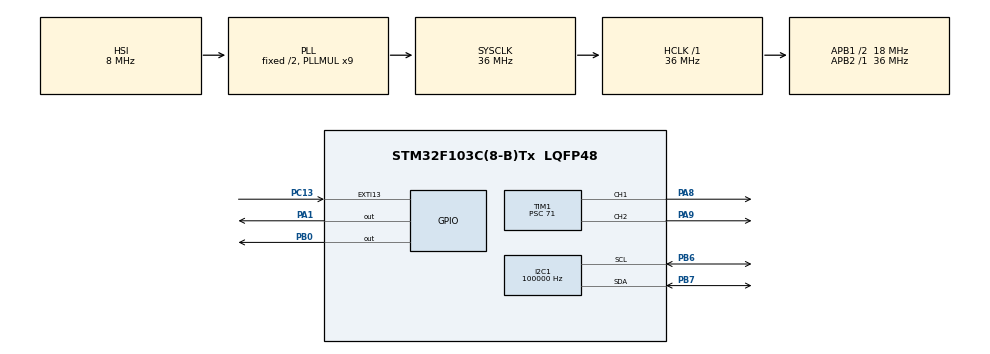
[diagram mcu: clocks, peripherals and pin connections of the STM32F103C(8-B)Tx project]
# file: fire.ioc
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I2C1.ClockSpeed=100000
I2C1.I2C_Mode=I2C_Fast
Mcu.Family=STM32F1
Mcu.Name=STM32F103C(8-B)Tx
Mcu.Package=LQFP48
NVIC.EXTI15_10_IRQn=true\:0\:0\:false\:false\:true\:true\:true\:true
NVIC.PriorityGroup=NVIC_PRIORITYGROUP_4
PA1.GPIO_PuPd=GPIO_PULLDOWN
PA1.Signal=GPIO_Output
PA13.Mode=Serial_Wire
PA13.Signal=SYS_JTMS-SWDIO
PA14.Mode=Serial_Wire
PA14.Signal=SYS_JTCK-SWCLK
PA8.Signal=S_TIM1_CH1
PA9.Signal=S_TIM1_CH2
PB0.PinState=GPIO_PIN_SET
PB0.Signal=GPIO_Output
PB6.Mode=I2C
PB6.Signal=I2C1_SCL
PB7.Mode=I2C
PB7.Signal=I2C1_SDA
PC13-TAMPER-RTC.GPIO_ModeDefaultEXTI=GPIO_MODE_IT_FALLING
PC13-TAMPER-RTC.GPIO_PuPd=GPIO_PULLUP
PC13-TAMPER-RTC.Signal=GPXTI13
ProjectManager.HeapSize=0x200
ProjectManager.StackSize=0x400
ProjectManager.TargetToolchain=STM32CubeIDE
RCC.AHBFreq_Value=36000000
RCC.APB1CLKDivider=RCC_HCLK_DIV2
RCC.APB1Freq_Value=18000000
RCC.APB1TimFreq_Value=36000000
RCC.APB2Freq_Value=36000000
RCC.APB2TimFreq_Value=36000000
RCC.HCLKFreq_Value=36000000
RCC.PLLMUL=RCC_PLL_MUL9
RCC.SYSCLKFreq_VALUE=36000000
RCC.SYSCLKSource=RCC_SYSCLKSOURCE_PLLCLK
RCC.USBFreq_Value=36000000
SH.S_TIM1_CH1.0=TIM1_CH1,PWM Generation1 CH1
SH.S_TIM1_CH2.0=TIM1_CH2,PWM Generation2 CH2
TIM1.AutomaticOutput=TIM_AUTOMATICOUTPUT_ENABLE
TIM1.Channel-PWM\ Generation1\ CH1=TIM_CHANNEL_1
TIM1.Channel-PWM\ Generation2\ CH2=TIM_CHANNEL_2
TIM1.Period=19999
TIM1.Prescaler=71
TIM1.Pulse-PWM\ Generation1\ CH1=1500
VP_TIM1_VS_ClockSourceINT.Mode=Internal
board=custom

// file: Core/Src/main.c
/* USER CODE BEGIN Header */
/**
  ******************************************************************************
  * @file           : main.c
  * @brief          : Main program body (Complete fixed version)
  ******************************************************************************
  */
/* USER CODE END Header */
#include "main.h"
#include "i2c.h"
#include "tim.h"
#include "gpio.h"

/* USER CODE BEGIN Includes */

#include <math.h>
#include <stdint.h>

#include "MLX90640_API.h"
#include "MLX90640_I2C_Driver.h"

#include "VL53L1X_api.h"
#include "VL53L1X_calibration.h"

/* USER CODE END Includes */

/* USER CODE BEGIN PD */

#define MLX90640_ADDRESS    0x33
#define VL53L1X_ADDRESS     0x29

#define FIRE_TEMPERATURE   150.0f

#define SERVO2_MAX_ANGLE    25
#define SERVO2_MIN_ANGLE    0

#define SERVO_SCAN_STEP     10

#define PUMP_PORT   GPIOA
#define PUMP_PIN    GPIO_PIN_1

/* USER CODE END PD */

/* USER CODE BEGIN PV */
static uint16_t eeMLX90640[832];
static paramsMLX90640 mlx90640Params;
static uint16_t mlx90640Frame[834];
static float mlx90640To[768];

static uint16_t currentDistance = 0;

volatile float temperature_vdd = 0.0f;
volatile float temperature_ta = 0.0f;
volatile float temperature_tr = 0.0f;
volatile float temperature_max = 0.0f;
volatile int temperature_hottest_x = 0;
volatile int temperature_hottest_y = 0;

volatile uint8_t vl53Ready = 0;
volatile uint16_t distanceMM = 0;

volatile int mlxDumpStatus = -1;
volatile int mlxExtractStatus = -1;
volatile int mlxRefreshStatus = -1;
volatile int mlxChessStatus = -1;

volatile int vl53InitStatus = -1;
volatile int vl53StartStatus = -1;
volatile uint8_t vl53XSHUT_State;
volatile uint8_t fire_found = 0;
volatile int servo2_angle = SERVO2_MAX_ANGLE;
volatile uint8_t diagnostic_mode = 0;
volatile uint32_t last_button_press = 0;
/* USER CODE END PV */

void SystemClock_Config(void);
/* USER CODE BEGIN PFP */

static void MLX90640_UpdateTemperature(void);

static void VL53L1X_UpdateDistance(void);

static void Servo_SetAngle(uint32_t angle);
static void Servo2_SetAngle(uint32_t angle);
static void Servo2_NextStep(void);
static void Target_And_Extinguish(int *p_angle);

/* USER CODE END PFP */

/* USER CODE BEGIN 0 */
static void Servo_SetAngle(uint32_t angle)
{
    if (angle > 180)
    {
        angle = 180;
    }

    uint32_t pulse = 500 + (angle * 2000) / 180;

    __HAL_TIM_SET_COMPARE(
        &htim1,
        TIM_CHANNEL_1,
        pulse
    );
}

static void Servo2_SetAngle(uint32_t angle)
{
    if (angle > SERVO2_MAX_ANGLE)
    {
        angle = SERVO2_MAX_ANGLE;
    }

    uint32_t pulse = 500 + (angle * 2000) / 180;

    __HAL_TIM_SET_COMPARE(&htim1, TIM_CHANNEL_2, pulse);
}

static void Servo2_NextStep(void)
{
    if (servo2_angle == 25)
    {
        servo2_angle = 20;
    }
    else if (servo2_angle == 20)
    {
        servo2_angle = 10;
    }
    else if (servo2_angle == 10)
    {
        servo2_angle = 0;
    }
    else
    {
        servo2_angle = 25;
    }

    Servo2_SetAngle((uint32_t)servo2_angle);
    HAL_Delay(500);
}
static void MLX90640_UpdateTemperature(void)
{
    int frameStatus;

    float max_temp = -1000.0f;
    float sum_temp = 0.0f;

    int hottest_pixel = 0;
    int valid_pixels = 0;

    for (int subpage = 0; subpage < 2; subpage++)
    {
        frameStatus = MLX90640_GetFrameData(
            MLX90640_ADDRESS,
            mlx90640Frame
        );

        if (frameStatus < 0)
        {
            return;
        }

        temperature_vdd =
            MLX90640_GetVdd(
                mlx90640Frame,
                &mlx90640Params
            );

        temperature_ta =
            MLX90640_GetTa(
                mlx90640Frame,
                &mlx90640Params
            );

        temperature_tr =
            temperature_ta - 8.0f;

        MLX90640_CalculateTo(
            mlx90640Frame,
            &mlx90640Params,
            0.95f,
            temperature_tr,
            mlx90640To
        );
    }
    for (int i = 0; i < 768; i++)
    {
        float t = mlx90640To[i];

        if (!isfinite(t))
        {
            continue;
        }

        if (t > max_temp)
        {
            max_temp = t;
            hottest_pixel = i;
        }

        sum_temp += t;
        valid_pixels++;
    }

    if (valid_pixels == 0)
    {
        return;
    }

    temperature_max = max_temp;

    temperature_hottest_x =
        hottest_pixel % 32;

    temperature_hottest_y =
        hottest_pixel / 32;

    if (temperature_max > FIRE_TEMPERATURE)
    {
        fire_found = 1;
    }
}
static void VL53L1X_UpdateDistance(void)
{
    uint8_t dataReady = 0;

    uint16_t distance = 0;
    if (vl53InitStatus != 0)
    {
        vl53Ready = 0;

        return;
    }

    if (VL53L1X_CheckForDataReady(
            VL53L1X_ADDRESS,
            &dataReady
        ) != 0)
    {
        vl53Ready = 0;

        return;
    }

    if (dataReady)
    {
        if (VL53L1X_GetDistance(
                VL53L1X_ADDRESS,
                &distance
            ) == 0)
        {

            currentDistance = distance;

            distanceMM = distance;

            vl53Ready = 1;
            VL53L1X_ClearInterrupt(
                VL53L1X_ADDRESS
            );
        }
    }
}

/* USER CODE END 0 */

int main(void)
{

  /* MCU Configuration--------------------------------------------------------*/

  /* Reset of all peripherals, Initializes the Flash interface and the Systick. */
     HAL_Init();

  /* Configure the system clock */
  SystemClock_Config();

  /* Initialize all configured peripherals */
  MX_GPIO_Init();
  MX_I2C1_Init();
  MX_TIM1_Init();

  HAL_TIM_PWM_Start(&htim1, TIM_CHANNEL_1);
  HAL_TIM_PWM_Start(&htim1, TIM_CHANNEL_2);
  /* USER CODE BEGIN 2 */

  vl53Ready = 0;
    for (int attempt = 0; attempt < 5; attempt++) {
        vl53InitStatus = VL53L1X_SensorInit(VL53L1X_ADDRESS);
        if (vl53InitStatus == 0) {
            break;
        }
        HAL_Delay(20);
    }

    if (vl53InitStatus == 0)
    {
        vl53StartStatus = VL53L1X_StartRanging(VL53L1X_ADDRESS);
        if (vl53StartStatus == 0)
        {
            vl53Ready = 1;
        }
    }
      MLX90640_I2CInit();
      MLX90640_I2CGeneralReset();

      HAL_Delay(80);

      mlxRefreshStatus = MLX90640_SetRefreshRate(
          MLX90640_ADDRESS,
          0x03
      );

      if (mlxRefreshStatus != 0)
      {
          Error_Handler();
      }

      mlxChessStatus = MLX90640_SetChessMode(
          MLX90640_ADDRESS
      );

      if (mlxChessStatus != 0)
      {
          Error_Handler();
      }

      mlxDumpStatus = MLX90640_DumpEE(
          MLX90640_ADDRESS,
          eeMLX90640
      );

      if (mlxDumpStatus != 0)
      {
          Error_Handler();
      }

      mlxExtractStatus = MLX90640_ExtractParameters(
          eeMLX90640,
          &mlx90640Params
      );

      if (mlxExtractStatus != 0)
      {
          Error_Handler();
      }

      HAL_Delay(100);

      vl53Ready = 0;

      for (int attempt = 0; attempt < 5; attempt++) {
    	  vl53InitStatus = VL53L1X_SensorInit(VL53L1X_ADDRESS);
          if (vl53InitStatus == 0) {
        	  break;
          }
          HAL_Delay(20);
      }

      if (vl53InitStatus == 0)
      {
          vl53StartStatus = VL53L1X_StartRanging(
        		  VL53L1X_ADDRESS
          );

          if (vl53StartStatus == 0)
          {
        	  vl53Ready = 1;
          }
      }
  /* USER CODE END 2 */

  /* Infinite loop */
      /* USER CODE BEGIN WHILE */
      servo2_angle = 25;
      Servo2_SetAngle(25);
      while (1)
	  {
			  fire_found = 0;
			  for (int angle = 0; angle <= 80; angle += SERVO_SCAN_STEP)
			  {
				  Servo_SetAngle((uint32_t)angle);
				  HAL_Delay(500);

				  MLX90640_UpdateTemperature();
				  VL53L1X_UpdateDistance();

				  if (fire_found)
				  {
					  Target_And_Extinguish(&angle);
				  }
			  }

			  Servo2_NextStep();

			  for (int angle = 80; angle >= 0; angle -= SERVO_SCAN_STEP)
			  {
				  Servo_SetAngle((uint32_t)angle);
				  HAL_Delay(500);

				  MLX90640_UpdateTemperature();
				  VL53L1X_UpdateDistance();

				  if (fire_found)
				  {
					  Target_And_Extinguish(&angle);
				  }
			  }

              Servo2_NextStep();
	  }
     /* USER CODE END WHILE */
}

void SystemClock_Config(void)
{
  RCC_OscInitTypeDef RCC_OscInitStruct = {0};
  RCC_ClkInitTypeDef RCC_ClkInitStruct = {0};

  /** Initializes the RCC Oscillators according to the specified parameters
  * in the RCC_OscInitTypeDef structure.
  */
  RCC_OscInitStruct.OscillatorType = RCC_OSCILLATORTYPE_HSI;
  RCC_OscInitStruct.HSIState = RCC_HSI_ON;
  RCC_OscInitStruct.HSICalibrationValue = RCC_HSICALIBRATION_DEFAULT;
  RCC_OscInitStruct.PLL.PLLState = RCC_PLL_ON;
  RCC_OscInitStruct.PLL.PLLSource = RCC_PLLSOURCE_HSI_DIV2;
  RCC_OscInitStruct.PLL.PLLMUL = RCC_PLL_MUL9;
  if (HAL_RCC_OscConfig(&RCC_OscInitStruct) != HAL_OK)
  {
    Error_Handler();
  }

  /** Initializes the CPU, AHB and APB buses clocks
  */
  RCC_ClkInitStruct.ClockType = RCC_CLOCKTYPE_HCLK|RCC_CLOCKTYPE_SYSCLK
                              |RCC_CLOCKTYPE_PCLK1|RCC_CLOCKTYPE_PCLK2;
  RCC_ClkInitStruct.SYSCLKSource = RCC_SYSCLKSOURCE_PLLCLK;
  RCC_ClkInitStruct.AHBCLKDivider = RCC_SYSCLK_DIV1;
  RCC_ClkInitStruct.APB1CLKDivider = RCC_HCLK_DIV2;
  RCC_ClkInitStruct.APB2CLKDivider = RCC_HCLK_DIV1;

  if (HAL_RCC_ClockConfig(&RCC_ClkInitStruct, FLASH_LATENCY_1) != HAL_OK)
  {
    Error_Handler();
  }
}

/* USER CODE BEGIN 4 */
void HAL_GPIO_EXTI_Callback(uint16_t GPIO_Pin)
{
    if (GPIO_Pin == GPIO_PIN_13)
    {
        uint32_t current_time = HAL_GetTick();

        if (current_time - last_button_press > 300)
        {
            diagnostic_mode = !diagnostic_mode;
            last_button_press = current_time;
        }
    }
}
/* USER CODE BEGIN 4 */

static void Target_And_Extinguish(int *p_angle)
{
    int angle = *p_angle;
    uint8_t extinguish_attempts = 0;

    Servo_SetAngle((uint32_t)angle);
    Servo2_SetAngle((uint32_t)servo2_angle);

    while (fire_found)
    {
        int sum_x = 0;
        int sum_y = 0;

        for (int i = 0; i < 2; i++)
        {
            MLX90640_UpdateTemperature();
            sum_x += temperature_hottest_x;
            sum_y += temperature_hottest_y;
            HAL_Delay(20);
        }

        int avg_x = sum_x / 2;
        int avg_y = sum_y / 2;

        if (temperature_max < FIRE_TEMPERATURE)
        {
            fire_found = 0;
            break;
        }

        uint8_t centered_x = 0;
        uint8_t centered_y = 0;

        if (avg_x < 8)
        {
            angle += 1;
            if (angle < 0) angle = 0;
        }
        else if (avg_x > 23)
        {
            angle -= 1;
            if (angle > 180) angle = 180;
        }
        else
        {
            centered_x = 1;
        }

        if (avg_y < 7)
        {
            servo2_angle -= 1;
            if (servo2_angle < 0) servo2_angle = 0;
        }
        else if (avg_y > 16)
        {
            servo2_angle += 1;
            if (servo2_angle > SERVO2_MAX_ANGLE) servo2_angle = SERVO2_MAX_ANGLE;
        }
        else
        {
            centered_y = 1;
        }

        if (centered_x == 0 || centered_y == 0)
        {

            Servo_SetAngle((uint32_t)angle);
            Servo2_SetAngle((uint32_t)servo2_angle);
            HAL_Delay(120);
        }
        else
        {
            VL53L1X_UpdateDistance();

            int offset_x = -1;
            int offset_y = 0;

            if (distanceMM <= 100)
            {
                offset_y = 0;
            }
            else if (distanceMM <= 150)
            {
                offset_y = -4;
            }
            else
            {
                offset_y = 0;
            }

            if (extinguish_attempts >= 1)
            {
                offset_y -= 2;
            }

            int camera_angle_x = angle;
            int camera_angle_y = servo2_angle;

            int target_angle = angle + offset_x;
            int target_servo2 = servo2_angle + offset_y;

            if (target_angle > 180) target_angle = 180;
            if (target_angle < 0) target_angle = 0;
            if (target_servo2 < 0) target_servo2 = 0;
            if (target_servo2 > SERVO2_MAX_ANGLE) target_servo2 = SERVO2_MAX_ANGLE;

            Servo_SetAngle((uint32_t)target_angle);
            Servo2_SetAngle((uint32_t)target_servo2);
            HAL_Delay(200);

            if (diagnostic_mode == 0)
            {
                HAL_GPIO_WritePin(PUMP_PORT, PUMP_PIN, GPIO_PIN_SET);
                for (int sweep = 0; sweep < 3; sweep++)
                {
                    Servo_SetAngle((uint32_t)(target_angle - 2));
                    HAL_Delay(400);
                    Servo_SetAngle((uint32_t)(target_angle + 2));
                    HAL_Delay(400);
                }

                HAL_GPIO_WritePin(PUMP_PORT, PUMP_PIN, GPIO_PIN_RESET);
                HAL_Delay(800);
            }
            else
            {
                HAL_Delay(2500);
            }

            extinguish_attempts++;

            angle = camera_angle_x;
            servo2_angle = camera_angle_y;
            Servo_SetAngle((uint32_t)angle);
            Servo2_SetAngle((uint32_t)servo2_angle);
            HAL_Delay(200);
        }
    }

    *p_angle = angle;
}

/* USER CODE END 4 */

/* USER CODE END 4 */

void Error_Handler(void)
{
    __disable_irq();
    while (1)
    {
    }
}
